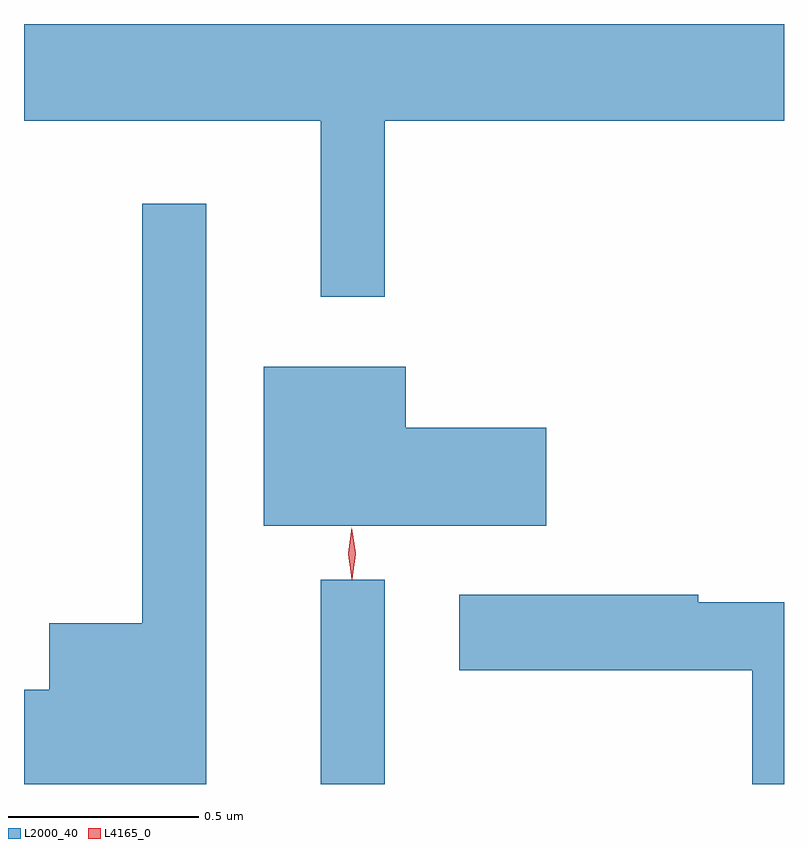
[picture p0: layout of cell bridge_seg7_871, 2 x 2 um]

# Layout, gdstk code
import gdstk
lib = gdstk.Library(unit=1e-6, precision=1e-09)
def R(c, l, rs):  # rectangles x0, y0, x1, y1
    for r in rs: c.add(gdstk.rectangle(r[:2], r[2:], *l))
def P(c, l, *ps):  # polygons
    for p in ps: c.add(gdstk.Polygon(p, *l))
L2000_40 = (2000, 40)
L4165_0 = (4165, 0)

bridge_seg7_871 = lib.new_cell('bridge_seg7_871')
R(bridge_seg7_871, L2000_40, [(210.831,1710.351,210.999,1710.888)])
P(bridge_seg7_871, L2000_40, [(210.999,1712.096),(212.05,1712.096),(212.05,1712.351),(210.05,1712.351),(210.05,1712.096),(210.831,1712.096),(210.831,1711.633),(210.999,1711.633)],
  [(210.529,1711.878),(210.361,1711.878),(210.361,1710.774),(210.116,1710.774),(210.116,1710.599),(210.05,1710.599),(210.05,1710.351),(210.529,1710.351)],
  [(211.424,1711.289),(211.054,1711.289),(211.054,1711.449),(210.681,1711.449),(210.681,1711.031),(211.424,1711.031)],
  [(212.05,1710.829),(211.824,1710.829),(211.824,1710.849),(211.196,1710.849),(211.196,1710.651),(211.966,1710.651),(211.966,1710.351),(212.05,1710.351)])
P(bridge_seg7_871, L4165_0, [(210.913,1710.893),(210.913,1710.893),(210.903,1710.956),(210.912,1711.019),(210.912,1711.02),(210.913,1711.019),(210.923,1710.956),(210.914,1710.893)],
  [(210.913,1710.889),(210.913,1710.89),(210.903,1710.958),(210.912,1711.025),(210.913,1711.026),(210.913,1711.025),(210.923,1710.958),(210.914,1710.89)])

lib.write_gds('bridge_seg7_871.gds')
